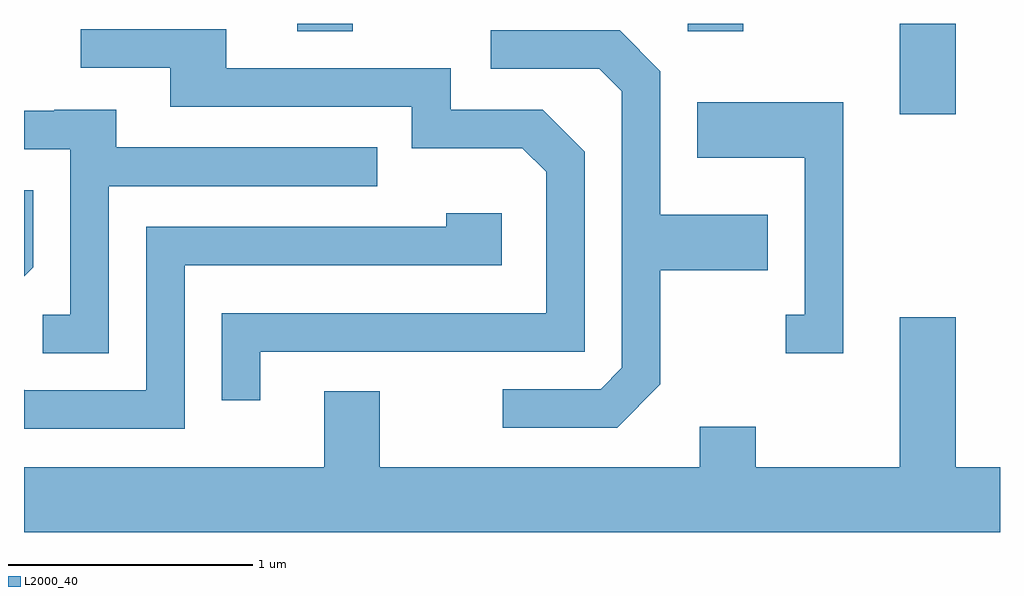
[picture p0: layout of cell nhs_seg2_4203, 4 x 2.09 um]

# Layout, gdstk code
import gdstk
lib = gdstk.Library(unit=1e-6, precision=1e-09)
def R(c, l, rs):  # rectangles x0, y0, x1, y1
    for r in rs: c.add(gdstk.rectangle(r[:2], r[2:], *l))
def P(c, l, *ps):  # polygons
    for p in ps: c.add(gdstk.Polygon(p, *l))
L2000_40 = (2000, 40)

nhs_seg2_4203 = lib.new_cell('nhs_seg2_4203')
R(nhs_seg2_4203, L2000_40, [(313.201,983.431,313.429,983.802), (310.731,983.771,310.959,983.802), (312.331,983.771,312.559,983.802)])
P(nhs_seg2_4203, L2000_40, [(310.579,982.456),(311.909,982.456),(311.909,983.277),(311.737,983.449),(311.359,983.449),(311.359,983.619),(310.439,983.619),(310.439,983.779),(309.843,983.779),(309.843,983.621),(310.211,983.621),(310.211,983.461),(311.201,983.461),(311.201,983.291),(311.654,983.291),(311.751,983.194),(311.751,982.614),(310.421,982.614),(310.421,982.258),(310.579,982.258)],
  [(312.219,982.324),(312.219,982.791),(312.659,982.791),(312.659,983.019),(312.219,983.019),(312.219,983.607),(312.052,983.774),(311.523,983.774),(311.523,983.616),(311.969,983.616),(312.061,983.524),(312.061,982.392),(311.974,982.304),(311.573,982.304),(311.573,982.146),(312.042,982.146)],
  [(312.969,983.479),(312.371,983.479),(312.371,983.251),(312.811,983.251),(312.811,982.609),(312.733,982.609),(312.733,982.451),(312.969,982.451)],
  [(309.959,983.136),(311.058,983.136),(311.058,983.294),(309.989,983.294),(309.989,983.449),(309.735,983.449),(309.735,983.444),(309.611,983.444),(309.611,983.286),(309.801,983.286),(309.801,982.609),(309.688,982.609),(309.688,982.451),(309.959,982.451)],
  [(309.649,982.804),(309.649,983.118),(309.611,983.118),(309.611,982.766)],
  [(310.269,982.811),(311.569,982.811),(311.569,983.024),(311.341,983.024),(311.341,982.969),(310.111,982.969),(310.111,982.299),(309.612,982.299),(309.611,982.3),(309.611,982.141),(310.269,982.141)],
  [(313.611,981.984),(313.429,981.984),(313.429,982.599),(313.201,982.599),(313.201,981.984),(312.609,981.984),(312.609,982.149),(312.381,982.149),(312.381,981.984),(311.069,981.984),(311.069,982.294),(310.841,982.294),(310.841,981.984),(309.611,981.984),(309.611,981.716),(313.611,981.716)])

lib.write_gds('nhs_seg2_4203.gds')
